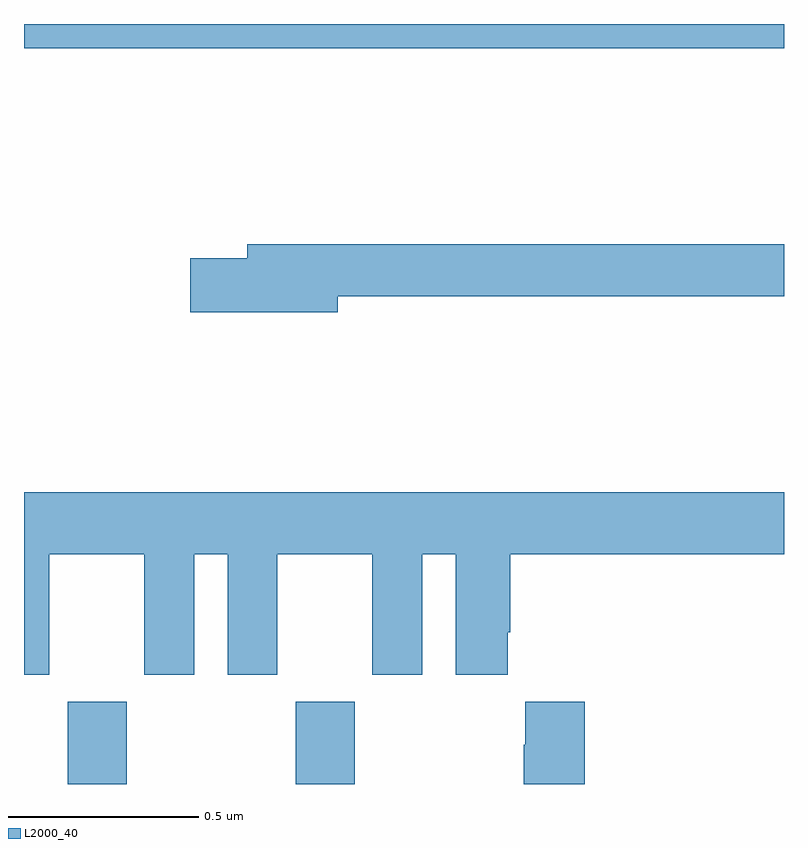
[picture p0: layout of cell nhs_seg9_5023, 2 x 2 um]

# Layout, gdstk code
import gdstk
lib = gdstk.Library(unit=1e-6, precision=1e-09)
def R(c, l, rs):  # rectangles x0, y0, x1, y1
    for r in rs: c.add(gdstk.rectangle(r[:2], r[2:], *l))
def P(c, l, *ps):  # polygons
    for p in ps: c.add(gdstk.Polygon(p, *l))
L2000_40 = (2000, 40)

nhs_seg9_5023 = lib.new_cell('nhs_seg9_5023')
R(nhs_seg9_5023, L2000_40, [(174.115,1178.5,174.27,1178.716), (174.715,1178.5,174.87,1178.716), (174,1180.436,176,1180.5)])
P(nhs_seg9_5023, L2000_40, [(174.826,1179.784),(176,1179.784),(176,1179.92),(174.587,1179.92),(174.587,1179.884),(174.438,1179.884),(174.438,1179.742),(174.826,1179.742)],
  [(174.067,1179.104),(174.317,1179.104),(174.317,1178.787),(174.448,1178.787),(174.448,1179.104),(174.536,1179.104),(174.536,1178.787),(174.667,1178.787),(174.667,1179.104),(174.917,1179.104),(174.917,1178.787),(175.048,1178.787),(175.048,1179.104),(175.136,1179.104),(175.136,1178.787),(175.273,1178.787),(175.273,1178.899),(175.28,1178.899),(175.28,1179.104),(176,1179.104),(176,1179.268),(174,1179.268),(174,1178.787),(174.067,1178.787)],
  [(175.475,1178.716),(175.319,1178.716),(175.319,1178.603),(175.315,1178.603),(175.315,1178.5),(175.475,1178.5)])

lib.write_gds('nhs_seg9_5023.gds')
